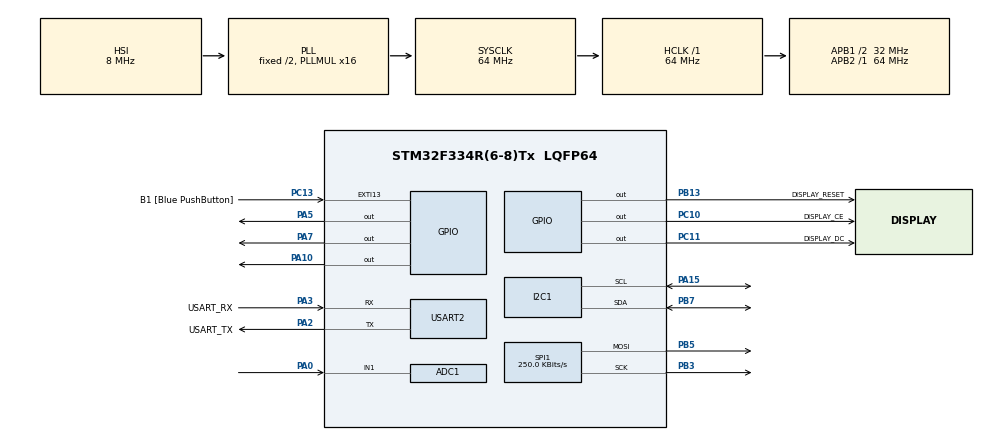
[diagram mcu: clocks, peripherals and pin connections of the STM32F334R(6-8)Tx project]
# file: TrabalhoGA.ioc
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ADC1.Channel-2\#ChannelRegularConversion=ADC_CHANNEL_1
ADC1.NbrOfConversionFlag=1
ADC1.Offset-2\#ChannelRegularConversion=0
ADC1.OffsetNumber-2\#ChannelRegularConversion=ADC_OFFSET_NONE
ADC1.Rank-2\#ChannelRegularConversion=1
ADC1.SamplingTime-2\#ChannelRegularConversion=ADC_SAMPLETIME_1CYCLE_5
ADC1.master=1
Dma.Request0=SPI1_TX
Dma.SPI1_TX.0.Direction=DMA_MEMORY_TO_PERIPH
Dma.SPI1_TX.0.Instance=DMA1_Channel3
Dma.SPI1_TX.0.MemDataAlignment=DMA_MDATAALIGN_BYTE
Dma.SPI1_TX.0.MemInc=DMA_MINC_ENABLE
Dma.SPI1_TX.0.Mode=DMA_NORMAL
Dma.SPI1_TX.0.PeriphDataAlignment=DMA_PDATAALIGN_BYTE
Dma.SPI1_TX.0.PeriphInc=DMA_PINC_DISABLE
Dma.SPI1_TX.0.Priority=DMA_PRIORITY_LOW
I2C1.Timing=0x00201D2B
Mcu.Family=STM32F3
Mcu.Name=STM32F334R(6-8)Tx
Mcu.Package=LQFP64
NVIC.DMA1_Channel3_IRQn=true\:0\:0\:false\:false\:true\:false\:true\:true
NVIC.EXTI15_10_IRQn=true\:0\:0\:false\:false\:true\:true\:true\:true
NVIC.PriorityGroup=NVIC_PRIORITYGROUP_0
NVIC.RTC_WKUP_IRQn=true\:0\:0\:false\:false\:true\:true\:true\:true
NVIC.SPI1_IRQn=true\:0\:0\:false\:false\:true\:true\:true\:true
PA0.Mode=IN1-Single-Ended
PA0.Signal=ADC1_IN1
PA10.Signal=GPIO_Output
PA13.GPIO_Label=TMS
PA13.Mode=Serial_Wire
PA13.Signal=SYS_JTMS-SWDIO
PA14.GPIO_Label=TCK
PA14.Mode=Serial_Wire
PA14.Signal=SYS_JTCK-SWCLK
PA15.Mode=I2C
PA15.Signal=I2C1_SCL
PA2.GPIO_Label=USART_TX
PA2.Mode=Asynchronous
PA2.Signal=USART2_TX
PA3.GPIO_Label=USART_RX
PA3.Mode=Asynchronous
PA3.Signal=USART2_RX
PA5.Signal=GPIO_Output
PA7.Signal=GPIO_Output
PB13.GPIO_Label=DISPLAY_RESET
PB13.Signal=GPIO_Output
PB3.Mode=TX_Only_Simplex_Unidirect_Master
PB3.Signal=SPI1_SCK
PB5.Mode=TX_Only_Simplex_Unidirect_Master
PB5.Signal=SPI1_MOSI
PB7.Mode=I2C
PB7.Signal=I2C1_SDA
PC10.GPIO_Label=DISPLAY_CE
PC10.Signal=GPIO_Output
PC11.GPIO_Label=DISPLAY_DC
PC11.Signal=GPIO_Output
PC13.GPIO_Label=B1 [Blue PushButton]
PC13.GPIO_ModeDefaultEXTI=GPIO_MODE_IT_FALLING
PC13.Signal=GPXTI13
PC14\ /\ OSC32_IN.Mode=LSE-External-Oscillator
PC14\ /\ OSC32_IN.Signal=RCC_OSC32_IN
PC15\ /\ OSC32_OUT.GPIO_Label=RCC_OSC32_OUT
PC15\ /\ OSC32_OUT.Mode=LSE-External-Oscillator
PC15\ /\ OSC32_OUT.Signal=RCC_OSC32_OUT
PF0\ /\ OSC_IN.Mode=HSE-External-Clock-Source
PF0\ /\ OSC_IN.Signal=RCC_OSC_IN
PF1\ /\ OSC_OUT.Signal=RCC_OSC_OUT
ProjectManager.HeapSize=0x200
ProjectManager.StackSize=0x400
ProjectManager.TargetToolchain=CMake
RCC.AHBFreq_Value=64000000
RCC.APB1CLKDivider=RCC_HCLK_DIV2
RCC.APB1Freq_Value=32000000
RCC.APB1TimFreq_Value=64000000
RCC.APB2Freq_Value=64000000
RCC.APB2TimFreq_Value=64000000
RCC.CortexFreq_Value=64000000
RCC.FLatency-AdvancedSettings=FLASH_LATENCY_2
RCC.HCLKFreq_Value=64000000
RCC.HSE_VALUE=8000000
RCC.HSI_VALUE=8000000
RCC.PLLMUL=RCC_PLL_MUL16
RCC.RTCClockSelection=RCC_RTCCLKSOURCE_LSE
RCC.SYSCLKFreq_VALUE=64000000
RCC.SYSCLKSourceVirtual=RCC_SYSCLKSOURCE_PLLCLK
RTC.WakeUpCounter-WakeUp=0x400
SPI1.BaudRatePrescaler=SPI_BAUDRATEPRESCALER_256
SPI1.CalculateBaudRate=250.0 KBits/s
SPI1.DataSize=SPI_DATASIZE_8BIT
SPI1.Direction=SPI_DIRECTION_2LINES
SPI1.Mode=SPI_MODE_MASTER
SPI1.VirtualType=VM_MASTER
USART2.VirtualMode-Asynchronous=VM_ASYNC
VP_RTC_VS_RTC_Activate.Mode=RTC_Enabled
VP_RTC_VS_RTC_WakeUp_intern.Mode=WakeUp
board=NUCLEO-F334R8

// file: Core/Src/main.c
/* USER CODE BEGIN Header */
/**
  ******************************************************************************
  * @file           : main.c
  * @brief          : Main program body
  ******************************************************************************
  * @attention
  *
  * Copyright (c) 2026 STMicroelectronics.
  * All rights reserved.
  *
  * This software is licensed under terms that can be found in the LICENSE file
  * in the root directory of this software component.
  * If no LICENSE file comes with this software, it is provided AS-IS.
  *
  ******************************************************************************
  */
/* USER CODE END Header */
#include "main.h"
#include "adc.h"
#include "dma.h"
#include "i2c.h"
#include "rtc.h"
#include "spi.h"
#include "usart.h"
#include "gpio.h"

/* USER CODE BEGIN Includes */
#include "stm32f3xx.h"
#include <stdio.h>

/* USER CODE END Includes */

/* USER CODE BEGIN PD */
#define HDC1080_ADDR 0x40 << 1
#define REG_TEMP     0x00
#define REG_CONFIG   0x02
#define TEMP_MAX     50
#define TEMP_MIN     0
/* USER CODE END PD */

/* USER CODE BEGIN PV */
volatile uint8_t buttonState = 0;
volatile uint8_t buttonWakeUp = 0;
/* USER CODE END PV */

void SystemClock_Config(void);

/* USER CODE BEGIN 0 */
int _write(int file, char *ptr, int len)
{
  HAL_UART_Transmit(&huart2, (uint8_t *)ptr, len, HAL_MAX_DELAY);
  return len;
}

void HAL_GPIO_EXTI_Callback(uint16_t GPIO_Pin)
{
  if (GPIO_Pin == GPIO_PIN_13) {

    buttonWakeUp = 1;
  }
}

typedef enum {
  ESTADO_SETUP,
  ATIVAR_SLEEP,
  LEITURA_TEMP,
  LEITURA_POT,
  ALERTA_LED,
  VERIFICA_BOTAO,
  ALTERA_UNIDADE_MEDIDA,
  RENDENIZA_TEXTO,
  ESTADO_SAIR,
} EstadoId;

typedef struct {
  float temperatura;
  float ref_temperatura;
  char unidade_medida;
} Contexto;

typedef EstadoId EstadoFunc(Contexto *contexto);

// Setup realiza a inicializacao do contexto e configura o sensor HDC
EstadoId estado_setup(Contexto *contexto) {
  contexto->temperatura = 0.0f;
  contexto->ref_temperatura = 0.0f;
  contexto->unidade_medida = 'C';

  // Config I2C
  uint8_t config_data[2] = {0x10, 0x00};
  HAL_I2C_Mem_Write(&hi2c1, HDC1080_ADDR, REG_CONFIG, I2C_MEMADD_SIZE_8BIT, config_data, 2, 100);

  return LEITURA_TEMP;
}

// Ativa modo STOP do microcontrolador. Um timer é configurado para emitir um EXTI a cada 500ms
EstadoId ativar_sleep(Contexto *contexto) {
  HAL_SuspendTick();
  HAL_RTCEx_SetWakeUpTimer_IT(&hrtc, 0x400, RTC_WAKEUPCLOCK_RTCCLK_DIV16);
  HAL_PWR_EnterSTOPMode(PWR_LOWPOWERREGULATOR_ON, PWR_STOPENTRY_WFI);
  HAL_RTCEx_DeactivateWakeUpTimer(&hrtc);
  SystemClock_Config();
  HAL_ResumeTick();

  return LEITURA_TEMP;
}

// Utiliza a interface I2C para ler a temperatura medida pelo sensor HDC
EstadoId leitura_temp(Contexto *contexto) {
  uint8_t reg = REG_TEMP;
  HAL_I2C_Master_Transmit(&hi2c1, HDC1080_ADDR, &reg, 1, 100);

  HAL_Delay(20);

  uint8_t data[2];
  if (HAL_I2C_Master_Receive(&hi2c1, HDC1080_ADDR, data, 2, 100) == HAL_OK) {
    uint16_t raw_temp = (data[0] << 8) | data[1];
    contexto->temperatura = ((float)raw_temp / 65536.0f) * 165.0f - 40.0f;
  }

  return LEITURA_POT;
}

// Calibra o ADC (descalibrado a cada parada do microcontrolador), le e converte o valor para uma temperatura de referencia
EstadoId leitura_pot(Contexto *contexto) {
  HAL_ADCEx_Calibration_Start(&hadc1, ADC_SINGLE_ENDED);
  HAL_ADC_Start(&hadc1);
  if (HAL_ADC_PollForConversion(&hadc1, 10) == HAL_OK) {
    uint32_t adc_value = HAL_ADC_GetValue(&hadc1);
    contexto->ref_temperatura = (adc_value * 50.0f) / 4095.0f;
  }
  HAL_ADC_Stop(&hadc1);

  return ALERTA_LED;
}

// Liga o LED de aviso caso a temperatura medida seja maior que a de referencia
EstadoId alerta_led(Contexto *contexto) {
  if ((int)(contexto->temperatura) >= (int)(contexto->ref_temperatura)) {
    HAL_GPIO_WritePin(GPIOA, GPIO_PIN_10, GPIO_PIN_SET);
  } else {
    HAL_GPIO_WritePin(GPIOA, GPIO_PIN_10, GPIO_PIN_RESET);
  }

  return VERIFICA_BOTAO;
}

// Caso a ocorra a interrupcao do botao, realiza um debounce e modifica o estado do botao
EstadoId verifica_botao(Contexto *contexto) {
  if (buttonWakeUp) {
    buttonWakeUp = 0;

    if (HAL_GPIO_ReadPin(GPIOC, GPIO_PIN_13) == GPIO_PIN_RESET) {
      buttonState ^= 1;
    }
  }
  return ALTERA_UNIDADE_MEDIDA;
}

// Altera a unidade de medida caso o estado do botao seja diferente
EstadoId altera_unidade_medida(Contexto *contexto) {
  switch (buttonState) {
  case 0:
    contexto->unidade_medida = 'C';
    break;
  case 1:
    contexto->unidade_medida = 'F';
    break;
  }
  return RENDENIZA_TEXTO;
}

// Imprime na interface serial a temperatura de referencia e a temperatura medida
EstadoId rendeniza_texto(Contexto *contexto) {
  printf("Temperatura referencia: %d%c\r\n", (int)(contexto->ref_temperatura), contexto->unidade_medida);
  printf("Temperatura medida = %d%c\r\n", (int)(contexto->temperatura), contexto->unidade_medida);

  return ATIVAR_SLEEP;
}

/* USER CODE END 0 */

int main(void)
{

  /* MCU Configuration--------------------------------------------------------*/

  /* Reset of all peripherals, Initializes the Flash interface and the Systick. */
  HAL_Init();

  /* Configure the system clock */
  SystemClock_Config();

  /* Initialize all configured peripherals */
  MX_GPIO_Init();
  MX_DMA_Init();
  MX_I2C1_Init();
  MX_USART2_UART_Init();
  MX_SPI1_Init();
  MX_RTC_Init();
  MX_ADC1_Init();
  /* USER CODE BEGIN 2 */
  Contexto contexto;
  EstadoId estadoAtual = ESTADO_SETUP;

  EstadoFunc *tabela_estados[] = {
    [ESTADO_SETUP]          = estado_setup,
    [ATIVAR_SLEEP]          = ativar_sleep,
    [LEITURA_TEMP]          = leitura_temp,
    [LEITURA_POT]           = leitura_pot,
    [ALERTA_LED]            = alerta_led,
    [VERIFICA_BOTAO]        = verifica_botao,
    [ALTERA_UNIDADE_MEDIDA] = altera_unidade_medida,
    [RENDENIZA_TEXTO]       = rendeniza_texto
  };
  /* USER CODE END 2 */

  /* Infinite loop */
  /* USER CODE BEGIN WHILE */
  while (estadoAtual != ESTADO_SAIR)
  {
    /* USER CODE BEGIN 3 */

    estadoAtual = tabela_estados[estadoAtual](&contexto);
    /* USER CODE END WHILE */
  }
  /* USER CODE END 3 */
}

void SystemClock_Config(void)
{
  RCC_OscInitTypeDef RCC_OscInitStruct = {0};
  RCC_ClkInitTypeDef RCC_ClkInitStruct = {0};
  RCC_PeriphCLKInitTypeDef PeriphClkInit = {0};

  /** Configure LSE Drive Capability
  */
  HAL_PWR_EnableBkUpAccess();
  __HAL_RCC_LSEDRIVE_CONFIG(RCC_LSEDRIVE_LOW);

  /** Initializes the RCC Oscillators according to the specified parameters
  * in the RCC_OscInitTypeDef structure.
  */
  RCC_OscInitStruct.OscillatorType = RCC_OSCILLATORTYPE_HSI|RCC_OSCILLATORTYPE_LSE;
  RCC_OscInitStruct.LSEState = RCC_LSE_ON;
  RCC_OscInitStruct.HSIState = RCC_HSI_ON;
  RCC_OscInitStruct.HSICalibrationValue = RCC_HSICALIBRATION_DEFAULT;
  RCC_OscInitStruct.PLL.PLLState = RCC_PLL_ON;
  RCC_OscInitStruct.PLL.PLLSource = RCC_PLLSOURCE_HSI;
  RCC_OscInitStruct.PLL.PLLMUL = RCC_PLL_MUL16;
  if (HAL_RCC_OscConfig(&RCC_OscInitStruct) != HAL_OK)
  {
    Error_Handler();
  }

  /** Initializes the CPU, AHB and APB buses clocks
  */
  RCC_ClkInitStruct.ClockType = RCC_CLOCKTYPE_HCLK|RCC_CLOCKTYPE_SYSCLK
                              |RCC_CLOCKTYPE_PCLK1|RCC_CLOCKTYPE_PCLK2;
  RCC_ClkInitStruct.SYSCLKSource = RCC_SYSCLKSOURCE_PLLCLK;
  RCC_ClkInitStruct.AHBCLKDivider = RCC_SYSCLK_DIV1;
  RCC_ClkInitStruct.APB1CLKDivider = RCC_HCLK_DIV2;
  RCC_ClkInitStruct.APB2CLKDivider = RCC_HCLK_DIV1;

  if (HAL_RCC_ClockConfig(&RCC_ClkInitStruct, FLASH_LATENCY_2) != HAL_OK)
  {
    Error_Handler();
  }
  PeriphClkInit.PeriphClockSelection = RCC_PERIPHCLK_I2C1|RCC_PERIPHCLK_RTC
                              |RCC_PERIPHCLK_ADC12;
  PeriphClkInit.Adc12ClockSelection = RCC_ADC12PLLCLK_DIV1;
  PeriphClkInit.I2c1ClockSelection = RCC_I2C1CLKSOURCE_HSI;
  PeriphClkInit.RTCClockSelection = RCC_RTCCLKSOURCE_LSE;
  if (HAL_RCCEx_PeriphCLKConfig(&PeriphClkInit) != HAL_OK)
  {
    Error_Handler();
  }
}

void Error_Handler(void)
{
  __disable_irq();
  while (1)
  {
  }
}
